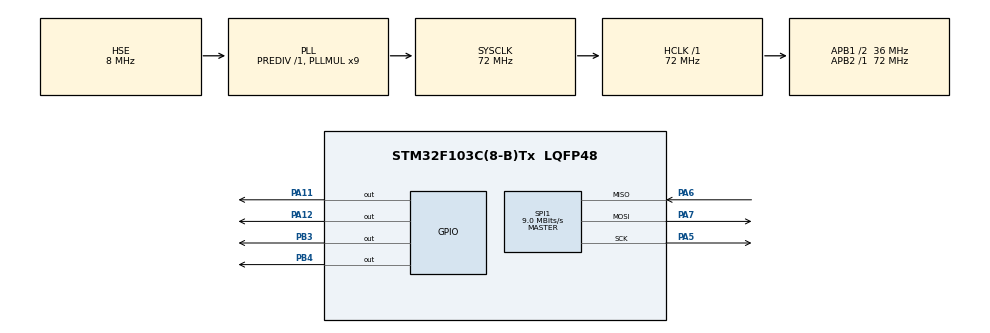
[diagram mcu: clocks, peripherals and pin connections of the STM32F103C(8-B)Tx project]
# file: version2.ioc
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Mcu.Family=STM32F1
Mcu.Name=STM32F103C(8-B)Tx
Mcu.Package=LQFP48
NVIC.PriorityGroup=NVIC_PRIORITYGROUP_4
PA11.Signal=GPIO_Output
PA12.Signal=GPIO_Output
PA13.Mode=Serial_Wire
PA13.Signal=SYS_JTMS-SWDIO
PA14.Mode=Serial_Wire
PA14.Signal=SYS_JTCK-SWCLK
PA5.Mode=Full_Duplex_Master
PA5.Signal=SPI1_SCK
PA6.Mode=Full_Duplex_Master
PA6.Signal=SPI1_MISO
PA7.Mode=Full_Duplex_Master
PA7.Signal=SPI1_MOSI
PB3.Signal=GPIO_Output
PB4.Signal=GPIO_Output
PD0-OSC_IN.Mode=HSE-External-Oscillator
PD0-OSC_IN.Signal=RCC_OSC_IN
PD1-OSC_OUT.Mode=HSE-External-Oscillator
PD1-OSC_OUT.Signal=RCC_OSC_OUT
ProjectManager.HeapSize=0x200
ProjectManager.StackSize=0x400
ProjectManager.TargetToolchain=MDK-ARM V5.32
RCC.AHBFreq_Value=72000000
RCC.APB1CLKDivider=RCC_HCLK_DIV2
RCC.APB1Freq_Value=36000000
RCC.APB1TimFreq_Value=72000000
RCC.APB2Freq_Value=72000000
RCC.APB2TimFreq_Value=72000000
RCC.HCLKFreq_Value=72000000
RCC.PLLMUL=RCC_PLL_MUL9
RCC.PLLSourceVirtual=RCC_PLLSOURCE_HSE
RCC.SYSCLKFreq_VALUE=72000000
RCC.SYSCLKSource=RCC_SYSCLKSOURCE_PLLCLK
RCC.USBFreq_Value=72000000
SPI1.BaudRatePrescaler=SPI_BAUDRATEPRESCALER_8
SPI1.CalculateBaudRate=9.0 MBits/s
SPI1.Direction=SPI_DIRECTION_2LINES
SPI1.Mode=SPI_MODE_MASTER
SPI1.VirtualType=VM_MASTER
board=custom

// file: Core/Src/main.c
/* USER CODE BEGIN Header */
/**
  ******************************************************************************
  * @file           : main.c
  * @brief          : Main program body
  ******************************************************************************
  * @attention
  *
  * Copyright (c) 2025 STMicroelectronics.
  * All rights reserved.
  *
  * This software is licensed under terms that can be found in the LICENSE file
  * in the root directory of this software component.
  * If no LICENSE file comes with this software, it is provided AS-IS.
  *
  ******************************************************************************
  */
/* USER CODE END Header */
#include "main.h"

/* USER CODE BEGIN PTD */
#include "stdio.h"
#include "string.h"
#include "rc522.h"
/* USER CODE END PTD */

SPI_HandleTypeDef hspi1;

void SystemClock_Config(void);
static void MX_GPIO_Init(void);
static void MX_SPI1_Init(void);

/* USER CODE BEGIN 0 */
uint8_t state_ment;
uint8_t str_1[16];
uint8_t card_id[5];
u8 card_id2[3];

const u8 the_xanh[5] = {179, 22, 120, 45, 240};
const u8 the_trang[5] = {170, 146, 141, 2, 183};

u8 check_card(const u8* data){
	for(u8 i=0; i<5; i++){
		if(data[i]!=card_id[i]){
			return 0;
		}
	}
	return 1;
}
u8 count=0, count1=0;
/* USER CODE END 0 */

int main(void)
{

  /* MCU Configuration--------------------------------------------------------*/

  /* Reset of all peripherals, Initializes the Flash interface and the Systick. */
  HAL_Init();

  /* Configure the system clock */
  SystemClock_Config();

  /* Initialize all configured peripherals */
  MX_GPIO_Init();
  MX_SPI1_Init();
  /* USER CODE BEGIN 2 */
	rc522_init();

  /* USER CODE END 2 */

  /* Infinite loop */
  while (1)
  {

    /* USER CODE BEGIN 3 */
		get_card_id();
//		bus_card();
		if(check_card(the_trang)){
			HAL_GPIO_WritePin(GPIOB, GPIO_PIN_4, 1);
		}else{
			HAL_GPIO_WritePin(GPIOB, GPIO_PIN_4, 0);
		}
		if(check_card(the_xanh)){
			HAL_GPIO_WritePin(GPIOB, GPIO_PIN_3, 1);
		}else{
			HAL_GPIO_WritePin(GPIOB, GPIO_PIN_3, 0);
		}
  }
  /* USER CODE END 3 */
}

void SystemClock_Config(void)
{
  RCC_OscInitTypeDef RCC_OscInitStruct = {0};
  RCC_ClkInitTypeDef RCC_ClkInitStruct = {0};

  /** Initializes the RCC Oscillators according to the specified parameters
  * in the RCC_OscInitTypeDef structure.
  */
  RCC_OscInitStruct.OscillatorType = RCC_OSCILLATORTYPE_HSE;
  RCC_OscInitStruct.HSEState = RCC_HSE_ON;
  RCC_OscInitStruct.HSEPredivValue = RCC_HSE_PREDIV_DIV1;
  RCC_OscInitStruct.HSIState = RCC_HSI_ON;
  RCC_OscInitStruct.PLL.PLLState = RCC_PLL_ON;
  RCC_OscInitStruct.PLL.PLLSource = RCC_PLLSOURCE_HSE;
  RCC_OscInitStruct.PLL.PLLMUL = RCC_PLL_MUL9;
  if (HAL_RCC_OscConfig(&RCC_OscInitStruct) != HAL_OK)
  {
    Error_Handler();
  }

  /** Initializes the CPU, AHB and APB buses clocks
  */
  RCC_ClkInitStruct.ClockType = RCC_CLOCKTYPE_HCLK|RCC_CLOCKTYPE_SYSCLK
                              |RCC_CLOCKTYPE_PCLK1|RCC_CLOCKTYPE_PCLK2;
  RCC_ClkInitStruct.SYSCLKSource = RCC_SYSCLKSOURCE_PLLCLK;
  RCC_ClkInitStruct.AHBCLKDivider = RCC_SYSCLK_DIV1;
  RCC_ClkInitStruct.APB1CLKDivider = RCC_HCLK_DIV2;
  RCC_ClkInitStruct.APB2CLKDivider = RCC_HCLK_DIV1;

  if (HAL_RCC_ClockConfig(&RCC_ClkInitStruct, FLASH_LATENCY_2) != HAL_OK)
  {
    Error_Handler();
  }
}

static void MX_SPI1_Init(void)
{

  /* SPI1 parameter configuration*/
  hspi1.Instance = SPI1;
  hspi1.Init.Mode = SPI_MODE_MASTER;
  hspi1.Init.Direction = SPI_DIRECTION_2LINES;
  hspi1.Init.DataSize = SPI_DATASIZE_8BIT;
  hspi1.Init.CLKPolarity = SPI_POLARITY_LOW;
  hspi1.Init.CLKPhase = SPI_PHASE_1EDGE;
  hspi1.Init.NSS = SPI_NSS_SOFT;
  hspi1.Init.BaudRatePrescaler = SPI_BAUDRATEPRESCALER_8;
  hspi1.Init.FirstBit = SPI_FIRSTBIT_MSB;
  hspi1.Init.TIMode = SPI_TIMODE_DISABLE;
  hspi1.Init.CRCCalculation = SPI_CRCCALCULATION_DISABLE;
  hspi1.Init.CRCPolynomial = 10;
  if (HAL_SPI_Init(&hspi1) != HAL_OK)
  {
    Error_Handler();
  }

}

static void MX_GPIO_Init(void)
{
  GPIO_InitTypeDef GPIO_InitStruct = {0};

  /* GPIO Ports Clock Enable */
  __HAL_RCC_GPIOD_CLK_ENABLE();
  __HAL_RCC_GPIOA_CLK_ENABLE();
  __HAL_RCC_GPIOB_CLK_ENABLE();

  /*Configure GPIO pin Output Level */
  HAL_GPIO_WritePin(GPIOA, GPIO_PIN_11|GPIO_PIN_12, GPIO_PIN_RESET);

  /*Configure GPIO pin Output Level */
  HAL_GPIO_WritePin(GPIOB, GPIO_PIN_3|GPIO_PIN_4, GPIO_PIN_RESET);

  /*Configure GPIO pins : PA11 PA12 */
  GPIO_InitStruct.Pin = GPIO_PIN_11|GPIO_PIN_12;
  GPIO_InitStruct.Mode = GPIO_MODE_OUTPUT_PP;
  GPIO_InitStruct.Pull = GPIO_NOPULL;
  GPIO_InitStruct.Speed = GPIO_SPEED_FREQ_LOW;
  HAL_GPIO_Init(GPIOA, &GPIO_InitStruct);

  /*Configure GPIO pins : PB3 PB4 */
  GPIO_InitStruct.Pin = GPIO_PIN_3|GPIO_PIN_4;
  GPIO_InitStruct.Mode = GPIO_MODE_OUTPUT_PP;
  GPIO_InitStruct.Pull = GPIO_NOPULL;
  GPIO_InitStruct.Speed = GPIO_SPEED_FREQ_LOW;
  HAL_GPIO_Init(GPIOB, &GPIO_InitStruct);

}

void Error_Handler(void)
{
  __disable_irq();
  while (1)
  {
  }
}
